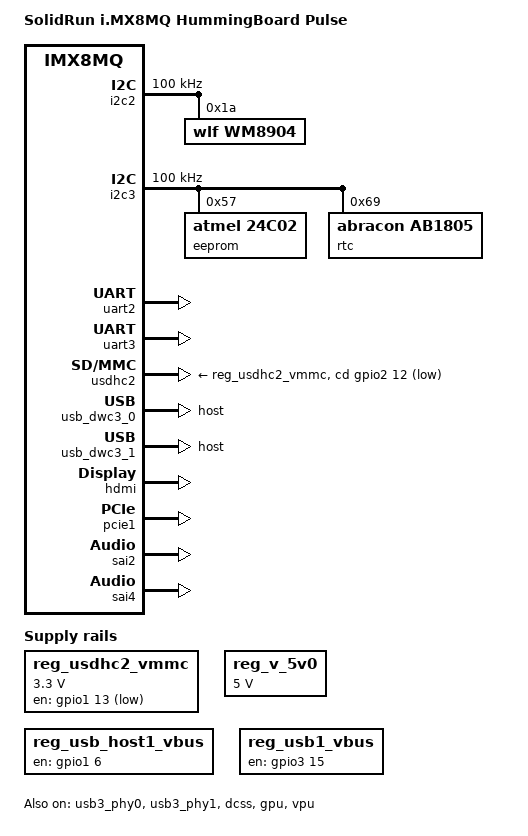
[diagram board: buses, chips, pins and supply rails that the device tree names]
// SPDX-License-Identifier: (GPL-2.0 OR MIT)
/*
 * Copyright (C) 2018 Jon Nettleton <jon@solid-run.com>
 * Copyright (C) 2020 Josua Mayer <josua@solid-run.com>
 */

/dts-v1/;

#include "dt-bindings/usb/pd.h"
#include "imx8mq-sr-som.dtsi"

/ {
	model = "SolidRun i.MX8MQ HummingBoard Pulse";
	compatible = "solidrun,hummingboard-pulse", "fsl,imx8mq";

	chosen {
		stdout-path = &uart1;
	};

	reg_usdhc2_vmmc: regulator-usdhc2-vmmc {
		compatible = "regulator-fixed";
		pinctrl-names = "default";
		pinctrl-0 = <&pinctrl_usdhc2_vmmc>;
		regulator-name = "VSD_3V3";
		regulator-min-microvolt = <3300000>;
		regulator-max-microvolt = <3300000>;
		gpio = <&gpio1 13 GPIO_ACTIVE_LOW>;
	};

	reg_v_5v0: regulator-v-5v0 {
		compatible = "regulator-fixed";
		regulator-name = "v_5v0";
		regulator-max-microvolt = <5000000>;
		regulator-min-microvolt = <5000000>;
		regulator-always-on;
	};

	reg_usb_host1_vbus: reg-usb-host1-vbus {
		compatible = "regulator-fixed";
		regulator-name = "usb-host1-vbus";
		gpio = <&gpio1 6 GPIO_ACTIVE_HIGH>;
		enable-active-high;
		regulator-boot-on;
		pinctrl-names = "default";
		pinctrl-0 = <&pinctrl_usb_host1_vbus>;
	};

	reg_usb1_vbus: reg-usb1-vbus {
		compatible = "regulator-fixed";
		regulator-name = "usb1-vbus";
		gpio = <&gpio3 15 GPIO_ACTIVE_HIGH>;
		enable-active-high;
		regulator-boot-on;
		pinctrl-names = "default";
		pinctrl-0 = <&pinctrl_usb1_vbus>;
	};

	sound-wm8904 {
		compatible = "simple-audio-card";
		simple-audio-card,name = "wm8904-audio";
		simple-audio-card,format = "i2s";
		simple-audio-card,widgets = "Line", "Line Out Jack";
		simple-audio-card,routing =
			"Line Out Jack", "LINEOUTL",
			"Line Out Jack", "LINEOUTR";
		simple-audio-card,cpu {
			sound-dai = <&sai2>;
		};
		simple-audio-card,codec {
			sound-dai = <&wm8904>;
		};
	};

	sound-hdmi {
		compatible = "fsl,imx8mq-evk-cdnhdmi",
				"fsl,imx-audio-cdnhdmi";
		model = "imx-audio-hdmi";
		audio-cpu = <&sai4>;
		protocol = <0>;
		hdmi-out;
		constraint-rate = <44100>,
				<88200>,
				<176400>,
				<32000>,
				<48000>,
				<96000>,
				<192000>;
	};
};

&i2c2 {
	pinctrl-names = "default";
	pinctrl-0 = <&pinctrl_i2c2>;
	clock-frequency = <100000>;
	status = "okay";

	wm8904: codec@1a {
		#sound-dai-cells = <0>;
		compatible = "wlf,wm8904";
		reg = <0x1a>;
		clocks = <&clk IMX8MQ_CLK_SAI2_ROOT>;
		clock-names = "mclk";
	};
};

&i2c3 {
	pinctrl-names = "default";
	pinctrl-0 = <&pinctrl_i2c3>;
	clock-frequency = <100000>;
	status = "okay";

	eeprom@57 {
		compatible = "atmel,24c02";
		reg = <0x57>;
		status = "okay";
	};

	rtc@69 {
		compatible = "abracon,ab1805";
		reg = <0x69>;
		abracon,tc-diode = "schottky";
		abracon,tc-resistor = <3>;
	};

	/* add i2c devices on mikrobus header here */
};

&uart2 { /* J35 header */
	pinctrl-names = "default";
	pinctrl-0 = <&pinctrl_uart2>;
	assigned-clocks = <&clk IMX8MQ_CLK_UART2>;
	assigned-clock-parents = <&clk IMX8MQ_CLK_25M>;
	status = "okay";
};

/* mikrobus uart */
&uart3 {
	pinctrl-names = "default";
	pinctrl-0 = <&pinctrl_uart3>;
	assigned-clocks = <&clk IMX8MQ_CLK_UART3>;
	assigned-clock-parents = <&clk IMX8MQ_SYS1_PLL_80M>;
	// uart-has-rtscts; /* uncomment to enable rts+cts */
	status = "okay";
};

&usdhc2 {
	assigned-clocks = <&clk IMX8MQ_CLK_USDHC2>;
	assigned-clock-rates = <200000000>;
	pinctrl-names = "default", "state_100mhz", "state_200mhz";
	pinctrl-0 = <&pinctrl_usdhc2>, <&pinctrl_usdhc2_gpio>;
	pinctrl-1 = <&pinctrl_usdhc2_100mhz>, <&pinctrl_usdhc2_gpio>;
	pinctrl-2 = <&pinctrl_usdhc2_200mhz>, <&pinctrl_usdhc2_gpio>;
	cd-gpios = <&gpio2 12 GPIO_ACTIVE_LOW>;
	vmmc-supply = <&reg_usdhc2_vmmc>;
	status = "okay";
};

&usb_dwc3_0 {
	dr_mode = "host";
	status = "okay";
};

&usb_dwc3_1 {
	dr_mode = "host";
	status = "okay";
};

&usb3_phy0 {
	status = "okay";
	vbus-supply = <&reg_usb1_vbus>;
};

&usb3_phy1 {
	status = "okay";
	vbus-supply = <&reg_usb_host1_vbus>;
};

&iomuxc {
	pinctrl-names = "default";
	pinctrl-0 = <&pinctrl_hog>;

	pinctrl_hog: hoggrp {
		fsl,pins = <
			MX8MQ_IOMUXC_NAND_DATA05_GPIO3_IO11		0x41 /* mikrobus AN (NOT IN SCHEMATICS)*/
			//MX8MQ_IOMUXC_SAI2_RXD0_GPIO4_IO23		0x41 /* mikrobus RST (conflict with stereo codec) */
			/*
			 * The following 2 pins need to be commented out and
			 * reconfigured to enable RTS/CTS on UART3
			 */
			MX8MQ_IOMUXC_ECSPI1_MISO_GPIO5_IO8 		0x41 /* mikrobus PWM (just a gpio) */
			MX8MQ_IOMUXC_ECSPI1_SS0_GPIO5_IO9		0x41 /* mikrobus INT */
		>;
	};

	pinctrl_i2c2: i2c2grp {
		fsl,pins = <
			MX8MQ_IOMUXC_I2C2_SCL_I2C2_SCL		0x4000007f
			MX8MQ_IOMUXC_I2C2_SDA_I2C2_SDA		0x4000007f
		>;
	};

	pinctrl_i2c3: i2c3grp {
		fsl,pins = <
			MX8MQ_IOMUXC_I2C3_SCL_I2C3_SCL		0x4000007f
			MX8MQ_IOMUXC_I2C3_SDA_I2C3_SDA		0x4000007f
		>;
	};

	pinctrl_uart2: uart2grp {
		fsl,pins = <
			MX8MQ_IOMUXC_UART2_TXD_UART2_DCE_TX		0x49
			MX8MQ_IOMUXC_UART2_RXD_UART2_DCE_RX		0x49
		>;
	};

	pinctrl_uart3: uart3grp {
		fsl,pins = <
			MX8MQ_IOMUXC_UART3_TXD_UART3_DCE_TX		0x49
			MX8MQ_IOMUXC_UART3_RXD_UART3_DCE_RX		0x49
			/*
			 * These pins are by default PWM and INT on the Mikro Bus
			 * Header. To use RTS/CTS on UART3 comment them out
			 * of the hoggrp and enable them here
			 */
			/* MX8MQ_IOMUXC_ECSPI1_MISO_UART3_DCE_CTS_B	0x49 */
			/* MX8MQ_IOMUXC_ECSPI1_SS0_UART3_DCE_RTS_B	0x49 */
		>;
	};

	pinctrl_usdhc2_gpio: usdhc2grpgpio {
		fsl,pins = <
			MX8MQ_IOMUXC_SD2_CD_B_GPIO2_IO12	0x41
		>;
	};

	pinctrl_usdhc2_vmmc: usdhc2vmmcgpio {
		fsl,pins = <
			MX8MQ_IOMUXC_GPIO1_IO13_GPIO1_IO13	0x41
		>;
	};

	pinctrl_usdhc2: usdhc2grp {
		fsl,pins = <
			MX8MQ_IOMUXC_SD2_CLK_USDHC2_CLK			0x83
			MX8MQ_IOMUXC_SD2_CMD_USDHC2_CMD			0xc3
			MX8MQ_IOMUXC_SD2_DATA0_USDHC2_DATA0		0xc3
			MX8MQ_IOMUXC_SD2_DATA1_USDHC2_DATA1		0xc3
			MX8MQ_IOMUXC_SD2_DATA2_USDHC2_DATA2		0xc3
			MX8MQ_IOMUXC_SD2_DATA3_USDHC2_DATA3		0xc3
			MX8MQ_IOMUXC_GPIO1_IO04_USDHC2_VSELECT		0xc1
		>;
	};

	pinctrl_usdhc2_100mhz: usdhc2grp100mhz {
		fsl,pins = <
			MX8MQ_IOMUXC_SD2_CLK_USDHC2_CLK			0x8d
			MX8MQ_IOMUXC_SD2_CMD_USDHC2_CMD			0xcd
			MX8MQ_IOMUXC_SD2_DATA0_USDHC2_DATA0		0xcd
			MX8MQ_IOMUXC_SD2_DATA1_USDHC2_DATA1		0xcd
			MX8MQ_IOMUXC_SD2_DATA2_USDHC2_DATA2		0xcd
			MX8MQ_IOMUXC_SD2_DATA3_USDHC2_DATA3		0xcd
			MX8MQ_IOMUXC_GPIO1_IO04_USDHC2_VSELECT		0xc1
		>;
	};

	pinctrl_usdhc2_200mhz: usdhc2grp200mhz {
		fsl,pins = <
			MX8MQ_IOMUXC_SD2_CLK_USDHC2_CLK			0x9f
			MX8MQ_IOMUXC_SD2_CMD_USDHC2_CMD			0xdf
			MX8MQ_IOMUXC_SD2_DATA0_USDHC2_DATA0		0xdf
			MX8MQ_IOMUXC_SD2_DATA1_USDHC2_DATA1		0xdf
			MX8MQ_IOMUXC_SD2_DATA2_USDHC2_DATA2		0xdf
			MX8MQ_IOMUXC_SD2_DATA3_USDHC2_DATA3		0xdf
			MX8MQ_IOMUXC_GPIO1_IO04_USDHC2_VSELECT		0xc1
		>;
	};

	pinctrl_pcie1: pcie1grp {
		fsl,pins = <
			MX8MQ_IOMUXC_I2C4_SDA_PCIE2_CLKREQ_B	0x74
			/* TODO: reset-gpio */
			/* TODO: disable-gpio */
		>;
	};

	pinctrl_ecspi2: ecspi2grp {
		fsl,pins = <
			MX8MQ_IOMUXC_ECSPI2_SS0_GPIO5_IO13 0x19 /* CS: spi chip-select (gpio-mode) */
			MX8MQ_IOMUXC_ECSPI2_SCLK_ECSPI2_SCLK 0x19 /* SCK: spi clock */
			MX8MQ_IOMUXC_ECSPI2_MISO_ECSPI2_MISO 0x19 /* MISO: spi master-in-slave-out */
			MX8MQ_IOMUXC_ECSPI2_MOSI_ECSPI2_MOSI 0x19 /* MOSI: spi master-out-slave-in */
		>;
	};

	pinctrl_usb_host1_vbus: usbhost1vbus {
		fsl,pins = <
			MX8MQ_IOMUXC_GPIO1_IO06_GPIO1_IO6		0x03
		>;
	};

	pinctrl_usb1_vbus: usb1vbus {
		fsl,pins = <
			MX8MQ_IOMUXC_NAND_RE_B_GPIO3_IO15		0x03
		>;
	};

	pinctrl_sai2: sai2grp {
		fsl,pins = <
			MX8MQ_IOMUXC_SAI2_MCLK_SAI2_MCLK	0xd6
			MX8MQ_IOMUXC_SAI2_TXFS_SAI2_TX_SYNC	0xd6
			MX8MQ_IOMUXC_SAI2_TXC_SAI2_TX_BCLK	0xd6
			MX8MQ_IOMUXC_SAI2_TXD0_SAI2_TX_DATA0	0xd6
			MX8MQ_IOMUXC_SAI2_RXD0_SAI2_RX_DATA0	0xd6
		>;
	};
};

&dcss {
	disp-dev = "hdmi_disp";
	status = "okay";
};

&hdmi {
	status = "okay";
};

&gpu {
	status = "okay";
};

&vpu {
	status = "okay";
};

/* connected to on-Carrier i210 ethernet controller */
&pcie1{
	pinctrl-names = "default";
	pinctrl-0 = <&pinctrl_pcie1>;
	hard-wired = <1>;
	ext_osc = <1>;
	status = "okay";

	/* TODO: down-rate fsl,max-link-speed to 1? */
	/* TODO: set ext_osc to 0? */
	/* TODO: reset-gpio */
	/* TODO: disable-gpio */
};

/* mikrobus spi */
&ecspi2 {
	pinctrl-names = "default";
	pinctrl-0 = <&pinctrl_ecspi2>;
	cs-gpios = <&gpio5 13 GPIO_ACTIVE_HIGH>;
};

&sai2 {
	pinctrl-names = "default";
	pinctrl-0 = <&pinctrl_sai2>;
	assigned-clocks = <&clk IMX8MQ_CLK_SAI2>;
	assigned-clock-parents = <&clk IMX8MQ_AUDIO_PLL1_OUT>;
	assigned-clock-rates = <24576000>;
	clocks = <&clk IMX8MQ_CLK_SAI2_IPG>, <&clk IMX8MQ_CLK_DUMMY>,
		<&clk IMX8MQ_CLK_SAI2_ROOT>, <&clk IMX8MQ_CLK_DUMMY>,
		<&clk IMX8MQ_CLK_DUMMY>, <&clk IMX8MQ_AUDIO_PLL1_OUT>,
		<&clk IMX8MQ_AUDIO_PLL2_OUT>;
	clock-names = "bus", "mclk0", "mclk1", "mclk2", "mclk3", "pll8k", "pll11k";
	status = "okay";
};

&sai4 {
	assigned-clocks = <&clk IMX8MQ_CLK_SAI4>;
	assigned-clock-parents = <&clk IMX8MQ_AUDIO_PLL1_OUT>;
	assigned-clock-rates = <24576000>;
	clocks = <&clk IMX8MQ_CLK_SAI4_IPG>, <&clk IMX8MQ_CLK_DUMMY>,
		<&clk IMX8MQ_CLK_SAI4_ROOT>, <&clk IMX8MQ_CLK_DUMMY>,
		<&clk IMX8MQ_CLK_DUMMY>, <&clk IMX8MQ_AUDIO_PLL1_OUT>,
		<&clk IMX8MQ_AUDIO_PLL2_OUT>;
	clock-names = "bus", "mclk0", "mclk1", "mclk2", "mclk3", "pll8k", "pll11k";
	status = "okay";
};
